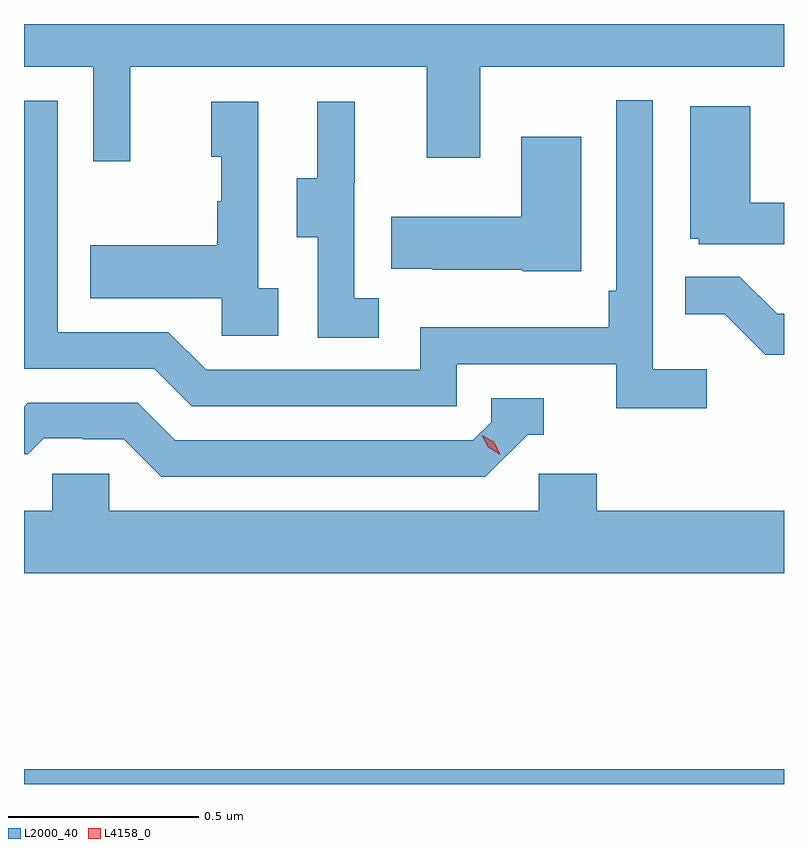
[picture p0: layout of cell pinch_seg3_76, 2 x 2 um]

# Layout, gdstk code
import gdstk
lib = gdstk.Library(unit=1e-6, precision=1e-09)
def R(c, l, rs):  # rectangles x0, y0, x1, y1
    for r in rs: c.add(gdstk.rectangle(r[:2], r[2:], *l))
def P(c, l, *ps):  # polygons
    for p in ps: c.add(gdstk.Polygon(p, *l))
L2000_40 = (2000, 40)
L4158_0 = (4158, 0)

pinch_seg3_76 = lib.new_cell('pinch_seg3_76')
R(pinch_seg3_76, L2000_40, [(1042.267,740.321,1044.267,740.36)])
P(pinch_seg3_76, L2000_40, [(1042.547,742.208),(1043.327,742.208),(1043.327,741.969),(1043.467,741.969),(1043.467,742.208),(1044.267,742.208),(1044.267,742.321),(1042.267,742.321),(1042.267,742.208),(1042.449,742.208),(1042.449,741.96),(1042.547,741.96)],
  [(1044.064,741.412),(1043.922,741.412),(1043.922,742.12),(1043.826,742.12),(1043.826,741.619),(1043.806,741.619),(1043.806,741.523),(1043.31,741.523),(1043.31,741.411),(1042.746,741.411),(1042.647,741.51),(1042.356,741.51),(1042.356,742.119),(1042.267,742.119),(1042.267,741.414),(1042.61,741.414),(1042.709,741.315),(1043.406,741.315),(1043.406,741.426),(1043.825,741.426),(1043.825,741.31),(1044.064,741.31)],
  [(1043.2,741.599),(1043.136,741.599),(1043.136,741.903),(1043.138,741.903),(1043.138,742.117),(1043.039,742.117),(1043.039,741.915),(1042.985,741.915),(1042.985,741.76),(1043.04,741.76),(1043.04,741.496),(1043.2,741.496)],
  [(1042.936,741.626),(1042.884,741.626),(1042.884,742.117),(1042.76,742.117),(1042.76,741.972),(1042.786,741.972),(1042.786,741.854),(1042.776,741.854),(1042.776,741.739),(1042.441,741.739),(1042.441,741.599),(1042.788,741.599),(1042.788,741.501),(1042.936,741.501)],
  [(1044.267,741.85),(1044.178,741.85),(1044.178,742.105),(1044.02,742.105),(1044.02,741.756),(1044.042,741.756),(1044.042,741.741),(1044.267,741.741)],
  [(1043.734,742.024),(1043.576,742.024),(1043.576,741.814),(1043.233,741.814),(1043.233,741.677),(1043.341,741.677),(1043.341,741.674),(1043.58,741.674),(1043.58,741.671),(1043.734,741.671)],
  [(1044.267,741.558),(1044.249,741.558),(1044.151,741.656),(1044.007,741.656),(1044.007,741.557),(1044.111,741.557),(1044.218,741.45),(1044.267,741.45)],
  [(1043.592,741.24),(1043.635,741.24),(1043.635,741.336),(1043.496,741.336),(1043.496,741.273),(1043.448,741.225),(1042.665,741.225),(1042.566,741.324),(1042.277,741.324),(1042.267,741.314),(1042.267,741.189),(1042.277,741.189),(1042.319,741.231),(1042.422,741.231),(1042.422,741.228),(1042.529,741.228),(1042.628,741.129),(1043.481,741.129)],
  [(1044.267,741.04),(1043.774,741.04),(1043.774,741.138),(1043.622,741.138),(1043.622,741.04),(1042.491,741.04),(1042.491,741.138),(1042.341,741.138),(1042.341,741.04),(1042.267,741.04),(1042.267,740.876),(1044.267,740.876)])
P(pinch_seg3_76, L4158_0, [(1043.52,741.188),(1043.489,741.207),(1043.472,741.239),(1043.472,741.239),(1043.473,741.239),(1043.504,741.22),(1043.52,741.188),(1043.52,741.188)])

lib.write_gds('pinch_seg3_76.gds')
